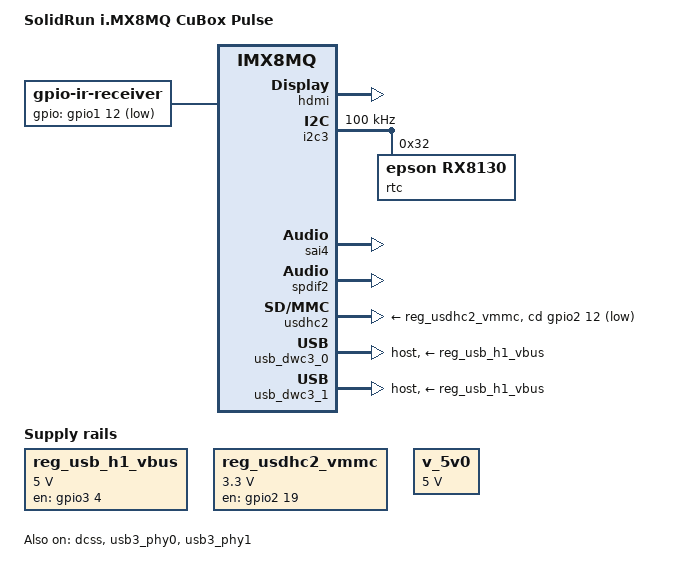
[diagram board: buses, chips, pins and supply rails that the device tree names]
/*
 * Copyright (C) 2018 Jon Nettleton <jon@solid-run.com>
 *
 * This file is dual-licensed: you can use it either under the terms
 * of the GPL or the X11 license, at your option. Note that this dual
 * licensing only applies to this file, and not this project as a
 * whole.
 *
 *  a) This file is free software; you can redistribute it and/or
 *     modify it under the terms of the GNU General Public License
 *     version 2 as published by the Free Software Foundation.
 *
 *     This file is distributed in the hope that it will be useful,
 *     but WITHOUT ANY WARRANTY; without even the implied warranty of
 *     MERCHANTABILITY or FITNESS FOR A PARTICULAR PURPOSE.  See the
 *     GNU General Public License for more details.
 *
 * Or, alternatively,
 *
 *  b) Permission is hereby granted, free of charge, to any person
 *     obtaining a copy of this software and associated documentation
 *     files (the "Software"), to deal in the Software without
 *     restriction, including without limitation the rights to use,
 *     copy, modify, merge, publish, distribute, sublicense, and/or
 *     sell copies of the Software, and to permit persons to whom the
 *     Software is furnished to do so, subject to the following
 *     conditions:
 *
 *     The above copyright notice and this permission notice shall be
 *     included in all copies or substantial portions of the Software.
 *
 *     THE SOFTWARE IS PROVIDED "AS IS", WITHOUT WARRANTY OF ANY KIND,
 *     EXPRESS OR IMPLIED, INCLUDING BUT NOT LIMITED TO THE WARRANTIES
 *     OF MERCHANTABILITY, FITNESS FOR A PARTICULAR PURPOSE AND
 *     NONINFRINGEMENT. IN NO EVENT SHALL THE AUTHORS OR COPYRIGHT
 *     HOLDERS BE LIABLE FOR ANY CLAIM, DAMAGES OR OTHER LIABILITY,
 *     WHETHER IN AN ACTION OF CONTRACT, TORT OR OTHERWISE, ARISING
 *     FROM, OUT OF OR IN CONNECTION WITH THE SOFTWARE OR THE USE OR
 *     OTHER DEALINGS IN THE SOFTWARE.
 */

/dts-v1/;

#include "fsl-imx8mq.dtsi"
#include "fsl-imx8mq-sr-som.dtsi"

/ {
	model = "SolidRun i.MX8MQ CuBox Pulse";
	compatible = "solidrun,cubox-pulse", "fsl,imx8mq";

	chosen {
		bootargs = "console=ttymxc0,115200 earlycon=ec_imx6q,0x30860000,115200";
		stdout-path = &uart1;
	};

	ir-receiver {
		compatible = "gpio-ir-receiver";
		gpios = <&gpio1 12 GPIO_ACTIVE_LOW>;
		pinctrl-names = "default";
		pinctrl-0 = <&pinctrl_gpio1_12>;
		linux,rc-map-name = "rc-rc6-mce";
	};

	regulators {
		compatible = "simple-bus";
		#address-cells = <1>;
		#size-cells = <0>;

		reg_usb_h1_vbus: usb_h1_vbus {
			compatible = "regulator-fixed";
			regulator-always-on;
			regulator-name = "usb_h1_vbus";
			regulator-min-microvolt = <5000000>;
			regulator-max-microvolt = <5000000>;
			gpio = <&gpio3 4 GPIO_ACTIVE_HIGH>;
			enable-active-high;
		};

		reg_usdhc2_vmmc: usdhc2_vmmc {
			compatible = "regulator-fixed";
			regulator-name = "VSD_3V3";
			regulator-min-microvolt = <3300000>;
			regulator-max-microvolt = <3300000>;
			gpio = <&gpio2 19 GPIO_ACTIVE_HIGH>;
			enable-active-high;
		};

		v_5v0: regulator-v-5v0 {
			compatible = "regulator-fixed";
			regulator-always-on;
			regulator-max-microvolt = <5000000>;
			regulator-min-microvolt = <5000000>;
			regulator-name = "v_5v0";
		};
	};

	sound-hdmi {
		compatible = "fsl,imx8mq-evk-cdnhdmi",
				"fsl,imx-audio-cdnhdmi";
		model = "imx-audio-hdmi";
		audio-cpu = <&sai4>;
		protocol = <1>;
		hdmi-out;
		constraint-rate = <44100>,
				<88200>,
				<176400>,
				<32000>,
				<48000>,
				<96000>,
				<192000>;
	};

	sound-hdmi-arc {
		compatible = "fsl,imx-audio-spdif";
		model = "imx-hdmi-arc";
		spdif-controller = <&spdif2>;
		spdif-in;
	};
};

&clk {
	assigned-clocks = <&clk IMX8MQ_AUDIO_PLL1>, <&clk IMX8MQ_AUDIO_PLL2>;
	assigned-clock-rates = <786432000>, <722534400>;
};

&dcss {
	disp-dev = "hdmi_disp";
	status = "okay";
};

&hdmi {
	status = "okay";
};

&iomuxc {
	imx8mq-sr-cbp {
		pinctrl_i2c3: i2c3grp {
			fsl,pins = <
				MX8MQ_IOMUXC_I2C3_SCL_I2C3_SCL			0x4000007f
				MX8MQ_IOMUXC_I2C3_SDA_I2C3_SDA			0x4000007f
			>;
		};

		pinctrl_gpio1_12: gpio1-12 {
			fsl,pins = <MX8MQ_IOMUXC_GPIO1_IO12_GPIO1_IO12	0x41>;
		};

		pinctrl_usbh1_vbus: usbh1-vbus {
			fsl,pins = <MX8MQ_IOMUXC_NAND_CE3_B_GPIO3_IO4	0x41>;
		};

		pinctrl_usdhc2_gpio: usdhc2grpgpio {
			fsl,pins = <
				MX8MQ_IOMUXC_SD2_CD_B_GPIO2_IO12	0x41
			>;
		};

		pinctrl_usdhc2: usdhc2grp {
			fsl,pins = <
				MX8MQ_IOMUXC_SD2_CLK_USDHC2_CLK			0x83
				MX8MQ_IOMUXC_SD2_CMD_USDHC2_CMD			0xc3
				MX8MQ_IOMUXC_SD2_DATA0_USDHC2_DATA0		0xc3
				MX8MQ_IOMUXC_SD2_DATA1_USDHC2_DATA1		0xc3
				MX8MQ_IOMUXC_SD2_DATA2_USDHC2_DATA2		0xc3
				MX8MQ_IOMUXC_SD2_DATA3_USDHC2_DATA3		0xc3
				MX8MQ_IOMUXC_GPIO1_IO04_USDHC2_VSELECT		0xc1
			>;
		};

		pinctrl_usdhc2_100mhz: usdhc2grp100mhz {
			fsl,pins = <
				MX8MQ_IOMUXC_SD2_CLK_USDHC2_CLK			0x8d
				MX8MQ_IOMUXC_SD2_CMD_USDHC2_CMD			0xcd
				MX8MQ_IOMUXC_SD2_DATA0_USDHC2_DATA0		0xcd
				MX8MQ_IOMUXC_SD2_DATA1_USDHC2_DATA1		0xcd
				MX8MQ_IOMUXC_SD2_DATA2_USDHC2_DATA2		0xcd
				MX8MQ_IOMUXC_SD2_DATA3_USDHC2_DATA3		0xcd
				MX8MQ_IOMUXC_GPIO1_IO04_USDHC2_VSELECT		0xc1
			>;
		};

		pinctrl_usdhc2_200mhz: usdhc2grp200mhz {
			fsl,pins = <
				MX8MQ_IOMUXC_SD2_CLK_USDHC2_CLK			0x9f
				MX8MQ_IOMUXC_SD2_CMD_USDHC2_CMD			0xdf
				MX8MQ_IOMUXC_SD2_DATA0_USDHC2_DATA0		0xdf
				MX8MQ_IOMUXC_SD2_DATA1_USDHC2_DATA1		0xdf
				MX8MQ_IOMUXC_SD2_DATA2_USDHC2_DATA2		0xdf
				MX8MQ_IOMUXC_SD2_DATA3_USDHC2_DATA3		0xdf
				MX8MQ_IOMUXC_GPIO1_IO04_USDHC2_VSELECT		0xc1
			>;
		};
	};
};

&i2c3 {
	clock-frequency = <100000>;
	pinctrl-names = "default";
	pinctrl-0 = <&pinctrl_i2c3>;
	status = "okay";

	rtc@32 {
		compatible = "epson,rx8130";
		reg = <0x32>;
	};
};

&sai4 {
	assigned-clocks = <&clk IMX8MQ_CLK_SAI4>;
	assigned-clock-parents = <&clk IMX8MQ_AUDIO_PLL1_OUT>;
	assigned-clock-rates = <24576000>;
	clocks = <&clk IMX8MQ_CLK_SAI4_IPG>, <&clk IMX8MQ_CLK_DUMMY>,
		<&clk IMX8MQ_CLK_SAI4_ROOT>, <&clk IMX8MQ_CLK_DUMMY>,
		<&clk IMX8MQ_CLK_DUMMY>, <&clk IMX8MQ_AUDIO_PLL1_OUT>,
		<&clk IMX8MQ_AUDIO_PLL2_OUT>;
	clock-names = "bus", "mclk0", "mclk1", "mclk2", "mclk3", "pll8k", "pll11k";
	status = "okay";
};

&snvs_pwrkey {
	status = "disabled";
};

&spdif2 {
	assigned-clocks = <&clk IMX8MQ_CLK_SPDIF2>;
	assigned-clock-parents = <&clk IMX8MQ_AUDIO_PLL1_OUT>;
	assigned-clock-rates = <24576000>;
	status = "okay";
};

&usdhc2 {
	pinctrl-names = "default", "state_100mhz", "state_200mhz";
	pinctrl-0 = <&pinctrl_usdhc2>, <&pinctrl_usdhc2_gpio>;
	pinctrl-1 = <&pinctrl_usdhc2_100mhz>, <&pinctrl_usdhc2_gpio>;
	pinctrl-2 = <&pinctrl_usdhc2_200mhz>, <&pinctrl_usdhc2_gpio>;
	cd-gpios = <&gpio2 12 GPIO_ACTIVE_LOW>;
	vmmc-supply = <&reg_usdhc2_vmmc>;
	status = "okay";
};

&usb_dwc3_0 {
	vbus-supply = <&reg_usb_h1_vbus>;
	status = "okay";
	dr_mode = "host";
};

&usb_dwc3_1 {
	vbus-supply = <&reg_usb_h1_vbus>;
	status = "okay";
	dr_mode = "host";
};

&usb3_phy0 {
	status = "okay";
};

&usb3_phy1 {
	status = "okay";
};
